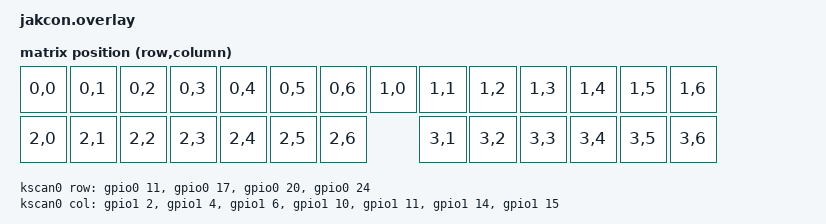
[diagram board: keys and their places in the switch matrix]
#include <dt-bindings/zmk/matrix_transform.h>

/ {
    chosen {
        zmk,kscan = &kscan0;
    };

    kscan0: kscan_0 {
        compatible = "zmk,kscan-gpio-matrix";
        diode-direction = "col2row";
        wakeup-source;

        col-gpios
            = <&gpio1 2 GPIO_ACTIVE_HIGH>
            , <&gpio1 4 GPIO_ACTIVE_HIGH>
            , <&gpio1 6 GPIO_ACTIVE_HIGH>
            , <&gpio1 10 GPIO_ACTIVE_HIGH>
            , <&gpio1 11 GPIO_ACTIVE_HIGH>
            , <&gpio1 14 GPIO_ACTIVE_HIGH>
            , <&gpio1 15 GPIO_ACTIVE_HIGH>
            ;

        row-gpios
            = <&gpio0 11 (GPIO_ACTIVE_HIGH | GPIO_PULL_DOWN)>
            , <&gpio0 17 (GPIO_ACTIVE_HIGH | GPIO_PULL_DOWN)>
            , <&gpio0 20 (GPIO_ACTIVE_HIGH | GPIO_PULL_DOWN)>
            , <&gpio0 24 (GPIO_ACTIVE_HIGH | GPIO_PULL_DOWN)>
            ;
    };

    default_transform: keymap_transform_0 {
        compatible = "zmk,matrix-transform";
        columns = <7>;
        rows = <4>;
// | MX01 | MX02 | MX03 | MX04 | MX05 | MX06 | MX07 | MX08 | MX09 | MX10 | MX11 | MX12 | MX13 | MX14 |
// | MX15 | MX16 | MX17 |   | MX18 | MX19 | MX20 | MX21 |  | MX22 | MX23 | MX24 | MX25 | MX26 | MX27 |
        map = <
RC(0,0) RC(0,1) RC(0,2) RC(0,3) RC(0,4) RC(0,5) RC(0,6) RC(1,0) RC(1,1) RC(1,2) RC(1,3) RC(1,4) RC(1,5) RC(1,6)
RC(2,0) RC(2,1) RC(2,2)     RC(2,3) RC(2,4) RC(2,5) RC(2,6)     RC(3,1) RC(3,2) RC(3,3) RC(3,4) RC(3,5) RC(3,6) 
        >;
    };
};


